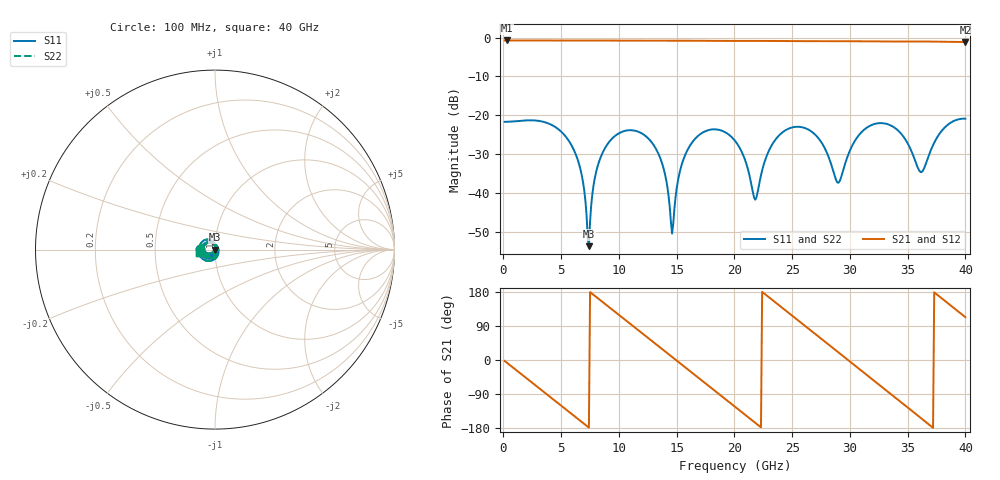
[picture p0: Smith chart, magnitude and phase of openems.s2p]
! T_ts6_sl_10: Stripline In2, ThunderScope stack, w 0.183 mm, 10 mm
! stackup: ThunderScope Rev5.3 6-layer (FR408HR / FR-4, from the board file)
! ports: 1 near A, 2 far A
! openEMS 0.37.0, staircase, fine mesh (dfine 0.0175 mm), 650573 cells
# Hz S RI R 50
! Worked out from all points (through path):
!   400 points, 100 MHz to 40 GHz, reference 50 ohm
!   highest |S21| = -0.75 dB at 300 MHz (marker M1); lowest = -1.1 dB at 40 GHz (marker M2)
!   group delay of S21, straight-line fit = 67.1 ps
!   lowest |S11| = -53.7 dB at 7.4 GHz (marker M3), VSWR 1.00, Z = 49.8 - j0.0247 ohm
!   |S11| at or under -10 dB: start of sweep to end of sweep
!   |S22| runs from -53.7 to -20.9 dB; largest |S21 - S12| = 0
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1e8  -0.0824 0.000853  0.9167 -0.0386  0.9167 -0.0386  -0.0824 0.000853
3e8  -0.0825 0.00258  0.9102 -0.1154  0.9102 -0.1154  -0.0825 0.00258
3.6e9  -0.0647 0.0494  0.0521 -0.9156  0.0521 -0.9156  -0.0647 0.0494
6.8e9  0.000901 0.0164  -0.8811 -0.2541  -0.8811 -0.2541  0.000901 0.0164
7.4e9  -0.00206 -0.000248  -0.9163 -0.0255  -0.9163 -0.0255  -0.00206 -0.000248
7.9e9  -0.0098 -0.0117  -0.9008 0.1666  -0.9008 0.1666  -0.0098 -0.0117
9.1e9  -0.0393 -0.0207  -0.7062 0.5805  -0.7062 0.5805  -0.0393 -0.0207
1.12e10  -0.0604 0.0215  -0.00119 0.9116  -0.00119 0.9116  -0.0604 0.0215
1.34e10  -0.00893 0.0312  0.7276 0.5502  0.7276 0.5502  -0.00893 0.0312
1.46e10  0.00301 -0.000194  0.903 0.1282  0.903 0.1282  0.00301 -0.000194
1.52e10  -0.00351 -0.0165  0.9057 -0.1023  0.9057 -0.1023  -0.00351 -0.0165
1.63e10  -0.0313 -0.0309  0.7624 -0.4956  0.7624 -0.4956  -0.0313 -0.0309
2.01e10  -0.0257 0.0382  -0.5132 -0.7463  -0.5132 -0.7463  -0.0257 0.0382
2.18e10  0.00823 0.000251  -0.8779 -0.2242  -0.8779 -0.2242  0.00823 0.000251
2.37e10  -0.0326 -0.0404  -0.7673 0.4745  -0.7673 0.4745  -0.0326 -0.0404
2.67e10  -0.0512 0.034  0.2175 0.8708  0.2175 0.8708  -0.0512 0.034
2.89e10  0.0128 0.00513  0.8296 0.3456  0.8296 0.3456  0.0128 0.00513
3e10  0.00267 -0.0351  0.8944 -0.0653  0.8944 -0.0653  0.00267 -0.0351
3.34e10  -0.0736 0.017  0.0557 -0.8863  0.0557 -0.8863  -0.0736 0.017
3.61e10  0.017 0.00787  -0.7861 -0.417  -0.7861 -0.417  0.017 0.00787
3.68e10  0.018 -0.0235  -0.8728 -0.1665  -0.8728 -0.1665  0.018 -0.0235
4e10  -0.0888 -0.0171  -0.3431 0.8067  -0.3431 0.8067  -0.0888 -0.0171
